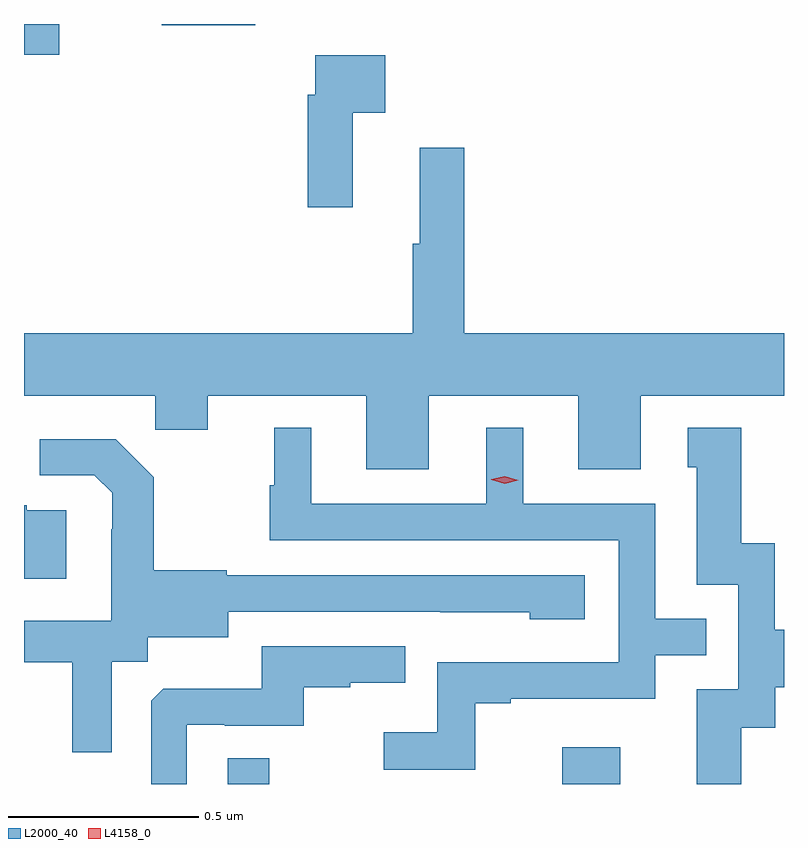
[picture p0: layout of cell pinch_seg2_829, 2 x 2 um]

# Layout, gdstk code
import gdstk
lib = gdstk.Library(unit=1e-6, precision=1e-09)
def R(c, l, rs):  # rectangles x0, y0, x1, y1
    for r in rs: c.add(gdstk.rectangle(r[:2], r[2:], *l))
def P(c, l, *ps):  # polygons
    for p in ps: c.add(gdstk.Polygon(p, *l))
L2000_40 = (2000, 40)
L4158_0 = (4158, 0)

pinch_seg2_829 = lib.new_cell('pinch_seg2_829')
R(pinch_seg2_829, L2000_40, [(665.01,614.646,665.119,614.714), (665.891,614.646,666.043,614.743), (664.474,616.565,664.567,616.646), (664.836,616.643,665.082,616.646)])
P(pinch_seg2_829, L2000_40, [(665.339,616.412),(665.425,616.412),(665.425,616.564),(665.241,616.564),(665.241,616.46),(665.221,616.46),(665.221,616.164),(665.339,616.164)],
  [(665.539,615.668),(665.933,615.668),(665.933,615.474),(666.097,615.474),(666.097,615.668),(666.474,615.668),(666.474,615.832),(665.633,615.832),(665.633,616.321),(665.516,616.321),(665.516,616.068),(665.497,616.068),(665.497,615.832),(664.474,615.832),(664.474,615.668),(664.819,615.668),(664.819,615.578),(664.957,615.578),(664.957,615.668),(665.375,615.668),(665.375,615.474),(665.539,615.474)],
  [(665.661,614.859),(665.755,614.859),(665.755,614.871),(666.135,614.871),(666.135,614.985),(666.269,614.985),(666.269,615.081),(666.135,615.081),(666.135,615.384),(665.788,615.384),(665.788,615.583),(665.69,615.583),(665.69,615.384),(665.23,615.384),(665.23,615.583),(665.132,615.583),(665.132,615.432),(665.121,615.432),(665.121,615.288),(666.039,615.288),(666.039,614.967),(665.562,614.967),(665.562,614.782),(665.421,614.782),(665.421,614.684),(665.661,614.684)],
  [(666.361,614.794),(666.451,614.794),(666.451,614.9),(666.474,614.9),(666.474,615.052),(666.45,615.052),(666.45,615.279),(666.361,615.279),(666.361,615.583),(666.221,615.583),(666.221,615.48),(666.245,615.48),(666.245,615.171),(666.354,615.171),(666.354,614.895),(666.245,614.895),(666.245,614.646),(666.361,614.646)],
  [(664.705,614.968),(664.8,614.968),(664.8,615.032),(665.011,615.032),(665.011,615.099),(665.569,615.099),(665.569,615.098),(665.805,615.098),(665.805,615.08),(665.95,615.08),(665.95,615.195),(665.007,615.195),(665.007,615.208),(664.815,615.208),(664.815,615.453),(664.715,615.553),(664.515,615.553),(664.515,615.459),(664.659,615.459),(664.706,615.412),(664.706,615.317),(664.704,615.317),(664.704,615.076),(664.474,615.076),(664.474,614.966),(664.601,614.966),(664.601,614.73),(664.705,614.73)],
  [(664.585,615.366),(664.481,615.366),(664.481,615.379),(664.474,615.379),(664.474,615.186),(664.585,615.186)],
  [(664.902,614.802),(665.002,614.802),(665.002,614.799),(665.21,614.799),(665.21,614.901),(665.333,614.901),(665.333,614.912),(665.477,614.912),(665.477,615.009),(665.1,615.009),(665.1,614.897),(664.841,614.897),(664.809,614.865),(664.809,614.646),(664.902,614.646)])
P(pinch_seg2_829, L4158_0, [(665.739,615.436),(665.703,615.447),(665.703,615.448),(665.703,615.448),(665.739,615.456),(665.775,615.446),(665.775,615.445),(665.775,615.445)])

lib.write_gds('pinch_seg2_829.gds')
